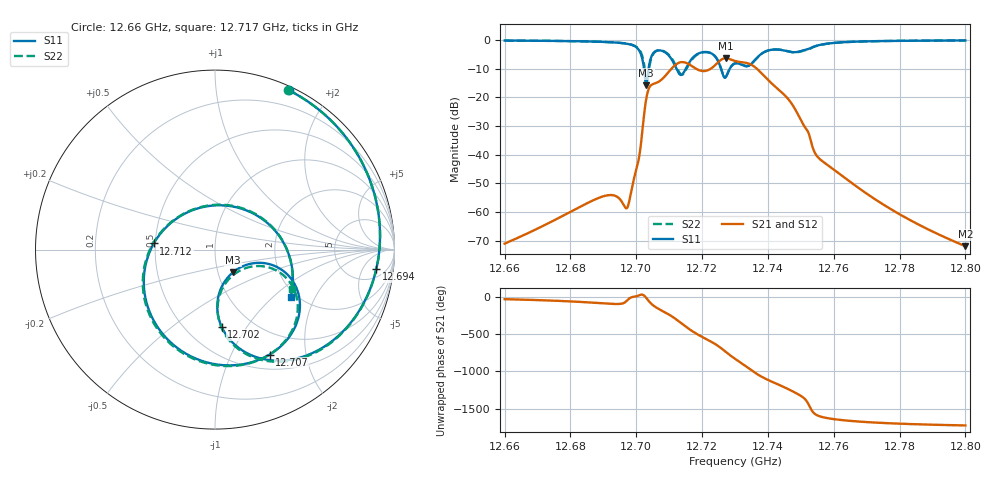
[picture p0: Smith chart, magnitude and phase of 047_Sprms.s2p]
! TOUCHSTONE file generated by CST MICROWAVE STUDIO
! Date and time: Wed Jul 31 13:02:54 2024
! Project name: WaveGuide_BPF-Ver4.1_U-shape_Ku_T3_C4_CWA_2.cst
! Parameters = {cavity_h=16; cavity_l0=10; cavity_l1=15.2095; cavity_l2=16.8454; cavity_l3=17.1184; cavity_l4=17.288; cavity_l5=17.1695; cavity_l6=17.5757; cavity_r=2.5; cavity_screw_l=0.5; cavity_screw_r=1.5; cavity_w=8; iris_h00=0; iris_h01=8.8363; iris_h112=0; iris_h12=5.5895; iris_h211=3.659; ir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
! Header version: 2018
! Port assignment regex: !\s*Touchstone port\s*([0-9]+)\s*=\s*(CST MWS port|CST DS port)\s*([0-9]+|Zmin|Zmax)\s*\(\"(.*)\"\)(\s*mode\s*([0-9]+))?.*
! Touchstone port assignment:
! Touchstone port 1 = CST MWS port 1 ("")
! Touchstone port 2 = CST MWS port 2 ("")
# GHz S RI R 50
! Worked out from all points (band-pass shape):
!   5001 points, 12.66 GHz to 12.8 GHz, reference 50 ohm
!   highest |S21| = -6.35 dB at 12.727 GHz (marker M1); lowest = -71.9 dB at 12.8 GHz (marker M2)
!   |S21| within 3 dB of the highest: 12.71124 GHz to 12.71721 GHz (5.97 MHz wide, 0.047 % of centre); 12.7234 GHz to 12.73594 GHz (12.54 MHz wide, 0.0985 % of centre)
!   lowest |S11| = -15.8 dB at 12.703 GHz (marker M3), VSWR 1.39, Z = 59 - j15.3 ohm
!   |S11| at or under -10 dB: 12.70235 GHz to 12.70373 GHz (1.385 MHz wide, 0.0109 % of centre); 12.71219 GHz to 12.71505 GHz (2.857 MHz wide, 0.0225 % of centre); 12.72575 GHz to 12.72842 GHz (2.67 MHz wide, 0.021 % of centre)
!   |S22| runs from -15.2 to -0.2 dB; largest |S21 - S12| = 1e-09
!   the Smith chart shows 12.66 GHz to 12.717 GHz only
!   S11 on the Smith chart (normalised r, x): 12.66 GHz: 0.04, +1.57; 12.694 GHz: 8, -10; 12.702 GHz: 0.73, -0.77; 12.707 GHz: 0.68, -1.42; 12.712 GHz: 0.49, +0.04; 12.717 GHz: 1.87, -1.30
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12.66  0.4124 0.8871  0.000246 -0.000135  0.000246 -0.000135  0.4094 0.8885
12.68335  0.8374 0.4482  0.000502 -0.00117  0.000502 -0.00117  0.8364 0.4501
12.6936  0.8981 -0.1101  -0.000128 -0.00191  -0.000128 -0.00191  0.8998 -0.106
12.69746  0.7379 -0.4292  0.00104 -0.000722  0.00104 -0.000722  0.7469 -0.4223
12.70197  0.0369 -0.4297  0.0263 0.0152  0.0263 0.0152  0.0651 -0.4865
12.70301  0.1004 -0.1264  0.091 -0.017  0.091 -0.017  0.0603 -0.1853
12.70659  0.3039 -0.585  -0.1661 -0.0798  -0.1661 -0.0798  0.3086 -0.5816
12.70668  0.2892 -0.5933  -0.1699 -0.0741  -0.1699 -0.0741  0.2942 -0.5905
12.71191  -0.341 0.034  0.1451 0.3396  0.1451 0.3396  -0.3665 -0.00917
12.71726  0.4224 -0.2615  -0.0895 -0.3274  -0.0895 -0.3274  0.4279 -0.2188
12.72048  -0.0874 -0.6106  -0.2853 0.032  -0.2853 0.032  -0.0679 -0.6079
12.72415  -0.488 -0.1184  0.0398 0.3706  0.0398 0.3706  -0.4859 -0.1276
12.72714  -0.2221 -0.0201  0.465 -0.1249  0.465 -0.1249  -0.2237 -0.0242
12.73  -0.3475 0.1738  -0.1426 -0.4068  -0.1426 -0.4068  -0.356 0.1647
12.73501  0.3816 -0.0564  -0.0333 0.3678  -0.0333 0.3678  0.3857 -0.0236
12.73882  -0.2343 -0.5665  0.2351 -0.0309  0.2351 -0.0309  -0.1921 -0.5818
12.7428  -0.676 0.0929  0.00396 -0.1436  0.00396 -0.1436  -0.6858 0.0354
12.74683  0.045 0.6198  -0.0825 -0.0128  -0.0825 -0.0128  -0.0229 0.6212
12.75335  0.4279 -0.6062  0.00136 -0.0148  0.00136 -0.0148  0.4424 -0.5843
12.76282  -0.5991 -0.691  -0.00344 0.00235  -0.00344 0.00235  -0.5971 -0.692
12.77668  -0.9483 -0.1661  -0.000305 0.00114  -0.000305 0.00114  -0.9483 -0.167
12.8  -0.933 0.3073  6.51e-05 0.000245  6.51e-05 0.000245  -0.9338 0.3053
